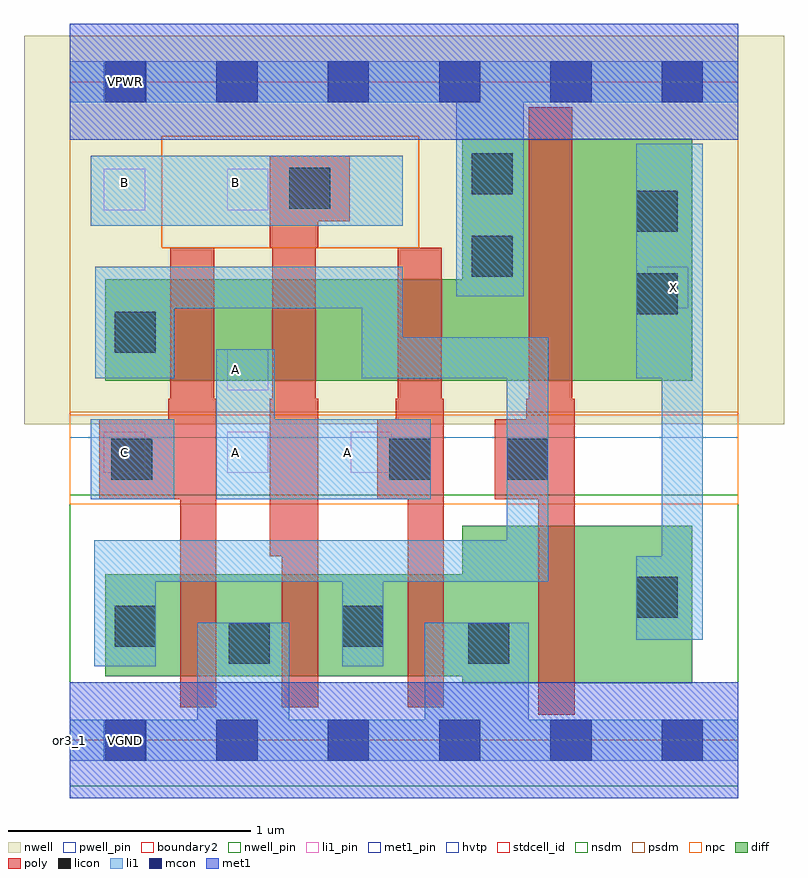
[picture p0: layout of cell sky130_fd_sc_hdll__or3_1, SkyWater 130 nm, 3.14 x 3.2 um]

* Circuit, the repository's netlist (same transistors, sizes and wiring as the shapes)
* Copyright 2020 The SkyWater PDK Authors
*
* Licensed under the Apache License, Version 2.0 (the "License");
* you may not use this file except in compliance with the License.
* You may obtain a copy of the License at
*
*     https://www.apache.org/licenses/LICENSE-2.0
*
* Unless required by applicable law or agreed to in writing, software
* distributed under the License is distributed on an "AS IS" BASIS,
* WITHOUT WARRANTIES OR CONDITIONS OF ANY KIND, either express or implied.
* See the License for the specific language governing permissions and
* limitations under the License.
*
* SPDX-License-Identifier: Apache-2.0

.SUBCKT sky130_fd_sc_hdll__or3_1 A B C VGND VNB VPB VPWR X
*.PININFO A:I B:I C:I VGND:I VNB:I VPB:I VPWR:I X:O
MMP0 VPWR A sndPA VPB sky130_fd_pr__pfet_01v8_hvt m=1 w=0.42U l=0.18U mult=1 sa=0.265
+ sb=0.265 sd=0.28 area=0.063 perim=1.14
MMP1 sndPA B sndPB VPB sky130_fd_pr__pfet_01v8_hvt m=1 w=0.42U l=0.18U mult=1 sa=0.265
+ sb=0.265 sd=0.28 area=0.063 perim=1.14
MMP2 sndPB C y VPB sky130_fd_pr__pfet_01v8_hvt m=1 w=0.42U l=0.18U mult=1 sa=0.265
+ sb=0.265 sd=0.28 area=0.063 perim=1.14
MMIP3 X y VPWR VPB sky130_fd_pr__pfet_01v8_hvt m=1 w=1.0U l=0.18U mult=1 sa=0.265
+ sb=0.265 sd=0.28 area=0.063 perim=1.14
MMN0 y A VGND VNB sky130_fd_pr__nfet_01v8 m=1 w=0.42U l=0.15U mult=1 sa=0.265 sb=0.265
+ sd=0.28 area=0.063 perim=1.14
MMN1 y B VGND VNB sky130_fd_pr__nfet_01v8 m=1 w=0.42U l=0.15U mult=1 sa=0.265 sb=0.265
+ sd=0.28 area=0.063 perim=1.14
MMN2 y C VGND VNB sky130_fd_pr__nfet_01v8 m=1 w=0.42U l=0.15U mult=1 sa=0.265 sb=0.265
+ sd=0.28 area=0.063 perim=1.14
MMIN3 X y VGND VNB sky130_fd_pr__nfet_01v8 m=1 w=0.65U l=0.15U mult=1 sa=0.265
+ sb=0.265 sd=0.28 area=0.063 perim=1.14
.ENDS sky130_fd_sc_hdll__or3_1

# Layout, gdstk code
import gdstk
lib = gdstk.Library(unit=1e-6, precision=1e-09)
def R(c, l, rs):  # rectangles x0, y0, x1, y1
    for r in rs: c.add(gdstk.rectangle(r[:2], r[2:], *l))
def A(c, l, x, y, w, h, nx, ny, dx, dy):  # array of equal rectangles
    R(c, l, [(x+i*dx, y+j*dy, x+i*dx+w, y+j*dy+h) for i in range(nx) for j in range(ny)])
def P(c, l, *ps):  # polygons
    for p in ps: c.add(gdstk.Polygon(p, *l))
nwell_pin = (64, 16)
nwell = (64, 20)
diff = (65, 20)
poly = (66, 20)
licon = (66, 44)
li1_pin = (67, 16)
li1 = (67, 20)
mcon = (67, 44)
met1_pin = (68, 16)
met1 = (68, 20)
hvtp = (78, 44)
stdcell_id = (81, 4)
nsdm = (93, 44)
psdm = (94, 20)
npc = (95, 20)
pwell_pin = (122, 16)
boundary2 = (236, 0)

sky130_fd_sc_hdll__or3_1 = lib.new_cell('sky130_fd_sc_hdll__or3_1')
R(sky130_fd_sc_hdll__or3_1, nwell_pin, [(0.14,2.635,0.31,2.805)])
R(sky130_fd_sc_hdll__or3_1, nwell, [(-0.19,1.305,2.95,2.91)])
P(sky130_fd_sc_hdll__or3_1, diff, [(2.57,0.885),(1.62,0.885),(1.62,0.685),(0.145,0.685),(0.145,0.265),(1.62,0.265),(1.62,0.235),(2.57,0.235)],
  [(2.57,2.485),(1.62,2.485),(1.62,1.905),(0.145,1.905),(0.145,1.485),(2.57,1.485)])
P(sky130_fd_sc_hdll__or3_1, poly, [(0.605,1.41),(0.595,1.41),(0.595,2.035),(0.415,2.035),(0.415,1.41),(0.405,1.41),(0.405,1.325),(0.12,1.325),(0.12,0.995),(0.455,0.995),(0.455,0.135),(0.605,0.135)],
  [(1.155,2.415),(0.825,2.415),(0.825,2.035),(0.835,2.035),(0.835,1.41),(0.825,1.41),(0.825,0.76),(0.875,0.76),(0.875,0.135),(1.025,0.135),(1.025,1.41),(1.015,1.41),(1.015,2.035),(1.025,2.035),(1.025,2.145),(1.155,2.145)],
  [(1.545,1.41),(1.535,1.41),(1.535,2.035),(1.355,2.035),(1.355,1.41),(1.345,1.41),(1.345,1.325),(1.27,1.325),(1.27,0.995),(1.395,0.995),(1.395,0.135),(1.545,0.135)],
  [(2.085,1.41),(2.075,1.41),(2.075,2.615),(1.895,2.615),(1.895,1.41),(1.885,1.41),(1.885,1.325),(1.755,1.325),(1.755,0.995),(1.935,0.995),(1.935,0.105),(2.085,0.105)])
R(sky130_fd_sc_hdll__or3_1, licon, [(0.655,0.315,0.825,0.485), (1.645,0.315,1.815,0.485), (0.185,0.385,0.355,0.555), (1.125,0.385,1.295,0.555), (2.34,0.505,2.51,0.675), (0.17,1.075,0.34,1.245), (1.32,1.075,1.49,1.245), (1.805,1.075,1.975,1.245), (0.185,1.6,0.355,1.77), (2.34,1.76,2.51,1.93), (1.66,1.915,1.83,2.085), (2.34,2.1,2.51,2.27), (0.905,2.195,1.075,2.365), (1.66,2.255,1.83,2.425)])
A(sky130_fd_sc_hdll__or3_1, li1_pin, 0.14, 1.105, 0.17, 0.17, 3, 1, 0.51, 0)
R(sky130_fd_sc_hdll__or3_1, li1_pin, [(0.65,1.445,0.82,1.615), (2.385,1.785,2.555,1.955), (0.14,2.19,0.31,2.36), (0.65,2.19,0.82,2.36)])
R(sky130_fd_sc_hdll__or3_1, li1, [(0.085,0.995,0.43,1.325), (0.085,2.125,1.375,2.415)])
P(sky130_fd_sc_hdll__or3_1, li1, [(2.76,0.085),(1.895,0.085),(1.895,0.485),(1.465,0.485),(1.465,0.085),(0.905,0.085),(0.905,0.485),(0.525,0.485),(0.525,0.085),(0,0.085),(0,-0.085),(2.76,-0.085)],
  [(2.76,2.805),(0,2.805),(0,2.635),(1.595,2.635),(1.595,1.835),(1.875,1.835),(1.875,2.635),(2.76,2.635)],
  [(2.615,2.465),(2.34,2.465),(2.34,1.495),(2.445,1.495),(2.445,0.76),(2.34,0.76),(2.34,0.415),(2.615,0.415)],
  [(1.975,1.665),(1.375,1.665),(1.375,1.955),(0.105,1.955),(0.105,1.495),(0.43,1.495),(0.43,1.785),(1.205,1.785),(1.205,1.495),(1.805,1.495),(1.805,0.825),(0.1,0.825),(0.1,0.305),(0.355,0.305),(0.355,0.655),(1.125,0.655),(1.125,0.305),(1.295,0.305),(1.295,0.655),(1.975,0.655)],
  [(1.49,1.325),(0.845,1.325),(0.845,1.615),(0.605,1.615),(0.605,0.995),(1.49,0.995)])
A(sky130_fd_sc_hdll__or3_1, mcon, 0.145, -0.085, 0.17, 0.17, 6, 2, 0.46, 2.72)
R(sky130_fd_sc_hdll__or3_1, met1_pin, [(0.14,-0.085,0.31,0.085), (0.14,2.635,0.31,2.805)])
R(sky130_fd_sc_hdll__or3_1, met1, [(0,-0.24,2.76,0.24), (0,2.48,2.76,2.96)])
R(sky130_fd_sc_hdll__or3_1, hvtp, [(0,1.25,2.76,2.72)])
R(sky130_fd_sc_hdll__or3_1, stdcell_id, [(0,0,2.76,2.72)])
R(sky130_fd_sc_hdll__or3_1, nsdm, [(0,-0.19,2.76,1.015)])
P(sky130_fd_sc_hdll__or3_1, psdm, [(2.76,2.91),(1.44,2.91),(1.44,2.035),(0.38,2.035),(0.38,2.495),(1.44,2.495),(1.44,2.91),(0,2.91),(0,1.355),(2.76,1.355)])
R(sky130_fd_sc_hdll__or3_1, npc, [(0,0.975,2.76,1.345), (0.38,2.035,1.44,2.495)])
R(sky130_fd_sc_hdll__or3_1, pwell_pin, [(0.14,-0.085,0.31,0.085)])
R(sky130_fd_sc_hdll__or3_1, boundary2, [(0,0,2.76,2.72)])
sky130_fd_sc_hdll__or3_1.add(gdstk.Label('A', (1.145,1.19), layer=67, texttype=5))
sky130_fd_sc_hdll__or3_1.add(gdstk.Label('A', (0.685,1.19), layer=67, texttype=5))
sky130_fd_sc_hdll__or3_1.add(gdstk.Label('X', (2.495,1.87), layer=67, texttype=5))
sky130_fd_sc_hdll__or3_1.add(gdstk.Label('A', (0.685,1.53), layer=67, texttype=5))
sky130_fd_sc_hdll__or3_1.add(gdstk.Label('B', (0.225,2.305), layer=67, texttype=5))
sky130_fd_sc_hdll__or3_1.add(gdstk.Label('B', (0.685,2.305), layer=67, texttype=5))
sky130_fd_sc_hdll__or3_1.add(gdstk.Label('C', (0.225,1.19), layer=67, texttype=5))
sky130_fd_sc_hdll__or3_1.add(gdstk.Label('VPWR', (0.23,2.72), layer=68, texttype=5))
sky130_fd_sc_hdll__or3_1.add(gdstk.Label('VGND', (0.23,0), layer=68, texttype=5))
sky130_fd_sc_hdll__or3_1.add(gdstk.Label('VPB', (0.225,2.72), layer=64, texttype=5))
sky130_fd_sc_hdll__or3_1.add(gdstk.Label('VNB', (0.23,0), layer=64, texttype=59))
sky130_fd_sc_hdll__or3_1.add(gdstk.Label('or3_1', (0,0), layer=83, texttype=44))

lib.write_gds('sky130_fd_sc_hdll__or3_1.gds')
